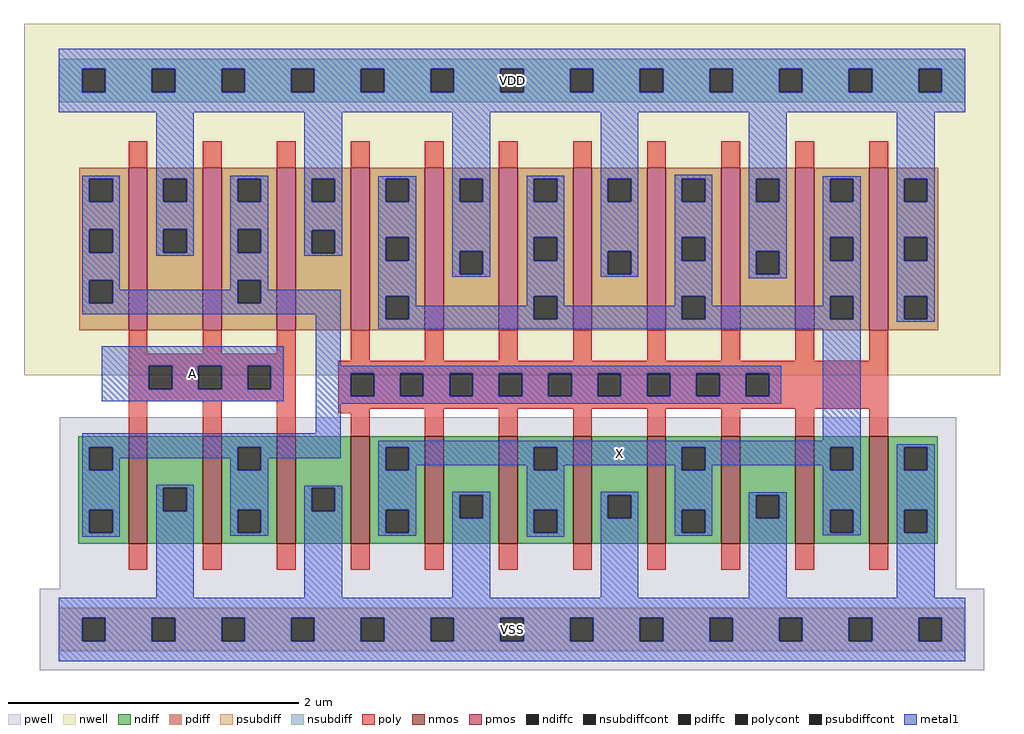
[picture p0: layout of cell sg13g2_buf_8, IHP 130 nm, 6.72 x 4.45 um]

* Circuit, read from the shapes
.subckt sg13g2_buf_8 X VDD A VSS
XM1 VSS A n1 VSS sg13_lv_nmos w=0.74u l=0.13u m=3
XM2 X n1 VSS VSS sg13_lv_nmos w=0.74u l=0.13u m=8
XM3 VDD A n1 VDD sg13_lv_pmos w=1.12u l=0.13u m=3
XM4 X n1 VDD VDD sg13_lv_pmos w=1.12u l=0.13u m=8
.ends

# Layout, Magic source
magic
tech ihp-sg13g2
magscale 1 2
<< nwell >>
rect -48 350 1296 834
<< pwell >>
rect 1 56 1236 292
rect -26 -56 1274 56
<< nmos >>
rect 96 118 122 266
rect 198 118 224 266
rect 300 118 326 266
rect 402 118 428 266
rect 504 118 530 266
rect 606 118 632 266
rect 708 118 734 266
rect 810 118 836 266
rect 912 118 938 266
rect 1014 118 1040 266
rect 1116 118 1142 266
<< pmos >>
rect 96 412 122 636
rect 198 412 224 636
rect 300 412 326 636
rect 402 412 428 636
rect 504 412 530 636
rect 606 412 632 636
rect 708 412 734 636
rect 810 412 836 636
rect 912 412 938 636
rect 1014 412 1040 636
rect 1116 412 1142 636
<< ndiff >>
rect 27 251 96 266
rect 27 219 42 251
rect 74 219 96 251
rect 27 165 96 219
rect 27 133 42 165
rect 74 133 96 165
rect 27 118 96 133
rect 122 195 198 266
rect 122 163 144 195
rect 176 163 198 195
rect 122 118 198 163
rect 224 251 300 266
rect 224 219 246 251
rect 278 219 300 251
rect 224 165 300 219
rect 224 133 246 165
rect 278 133 300 165
rect 224 118 300 133
rect 326 195 402 266
rect 326 163 348 195
rect 380 163 402 195
rect 326 118 402 163
rect 428 251 504 266
rect 428 219 450 251
rect 482 219 504 251
rect 428 165 504 219
rect 428 133 450 165
rect 482 133 504 165
rect 428 118 504 133
rect 530 185 606 266
rect 530 153 552 185
rect 584 153 606 185
rect 530 118 606 153
rect 632 251 708 266
rect 632 219 654 251
rect 686 219 708 251
rect 632 165 708 219
rect 632 133 654 165
rect 686 133 708 165
rect 632 118 708 133
rect 734 185 810 266
rect 734 153 756 185
rect 788 153 810 185
rect 734 118 810 153
rect 836 251 912 266
rect 836 219 858 251
rect 890 219 912 251
rect 836 165 912 219
rect 836 133 858 165
rect 890 133 912 165
rect 836 118 912 133
rect 938 185 1014 266
rect 938 153 960 185
rect 992 153 1014 185
rect 938 118 1014 153
rect 1040 251 1116 266
rect 1040 219 1062 251
rect 1094 219 1116 251
rect 1040 165 1116 219
rect 1040 133 1062 165
rect 1094 133 1116 165
rect 1040 118 1116 133
rect 1142 251 1210 266
rect 1142 219 1164 251
rect 1196 219 1210 251
rect 1142 165 1210 219
rect 1142 133 1164 165
rect 1196 133 1210 165
rect 1142 118 1210 133
<< pdiff >>
rect 28 621 96 636
rect 28 589 42 621
rect 74 589 96 621
rect 28 551 96 589
rect 28 519 42 551
rect 74 519 96 551
rect 28 481 96 519
rect 28 449 42 481
rect 74 449 96 481
rect 28 412 96 449
rect 122 621 198 636
rect 122 589 144 621
rect 176 589 198 621
rect 122 551 198 589
rect 122 519 144 551
rect 176 519 198 551
rect 122 412 198 519
rect 224 621 300 636
rect 224 589 246 621
rect 278 589 300 621
rect 224 551 300 589
rect 224 519 246 551
rect 278 519 300 551
rect 224 481 300 519
rect 224 449 246 481
rect 278 449 300 481
rect 224 412 300 449
rect 326 621 402 636
rect 326 589 348 621
rect 380 589 402 621
rect 326 550 402 589
rect 326 518 348 550
rect 380 518 402 550
rect 326 412 402 518
rect 428 621 504 636
rect 428 589 450 621
rect 482 589 504 621
rect 428 540 504 589
rect 428 508 450 540
rect 482 508 504 540
rect 428 459 504 508
rect 428 427 450 459
rect 482 427 504 459
rect 428 412 504 427
rect 530 621 606 636
rect 530 589 552 621
rect 584 589 606 621
rect 530 521 606 589
rect 530 489 552 521
rect 584 489 606 521
rect 530 412 606 489
rect 632 621 708 636
rect 632 589 654 621
rect 686 589 708 621
rect 632 540 708 589
rect 632 508 654 540
rect 686 508 708 540
rect 632 459 708 508
rect 632 427 654 459
rect 686 427 708 459
rect 632 412 708 427
rect 734 621 810 636
rect 734 589 756 621
rect 788 589 810 621
rect 734 521 810 589
rect 734 489 756 521
rect 788 489 810 521
rect 734 412 810 489
rect 836 621 912 636
rect 836 589 858 621
rect 890 589 912 621
rect 836 540 912 589
rect 836 508 858 540
rect 890 508 912 540
rect 836 459 912 508
rect 836 427 858 459
rect 890 427 912 459
rect 836 412 912 427
rect 938 621 1014 636
rect 938 589 960 621
rect 992 589 1014 621
rect 938 521 1014 589
rect 938 489 960 521
rect 992 489 1014 521
rect 938 412 1014 489
rect 1040 621 1116 636
rect 1040 589 1062 621
rect 1094 589 1116 621
rect 1040 540 1116 589
rect 1040 508 1062 540
rect 1094 508 1116 540
rect 1040 459 1116 508
rect 1040 427 1062 459
rect 1094 427 1116 459
rect 1040 412 1116 427
rect 1142 621 1211 636
rect 1142 589 1164 621
rect 1196 589 1211 621
rect 1142 540 1211 589
rect 1142 508 1164 540
rect 1196 508 1211 540
rect 1142 459 1211 508
rect 1142 427 1164 459
rect 1196 427 1211 459
rect 1142 412 1211 427
<< ndiffc >>
rect 42 219 74 251
rect 42 133 74 165
rect 144 163 176 195
rect 246 219 278 251
rect 246 133 278 165
rect 348 163 380 195
rect 450 219 482 251
rect 450 133 482 165
rect 552 153 584 185
rect 654 219 686 251
rect 654 133 686 165
rect 756 153 788 185
rect 858 219 890 251
rect 858 133 890 165
rect 960 153 992 185
rect 1062 219 1094 251
rect 1062 133 1094 165
rect 1164 219 1196 251
rect 1164 133 1196 165
<< pdiffc >>
rect 42 589 74 621
rect 42 519 74 551
rect 42 449 74 481
rect 144 589 176 621
rect 144 519 176 551
rect 246 589 278 621
rect 246 519 278 551
rect 246 449 278 481
rect 348 589 380 621
rect 348 518 380 550
rect 450 589 482 621
rect 450 508 482 540
rect 450 427 482 459
rect 552 589 584 621
rect 552 489 584 521
rect 654 589 686 621
rect 654 508 686 540
rect 654 427 686 459
rect 756 589 788 621
rect 756 489 788 521
rect 858 589 890 621
rect 858 508 890 540
rect 858 427 890 459
rect 960 589 992 621
rect 960 489 992 521
rect 1062 589 1094 621
rect 1062 508 1094 540
rect 1062 427 1094 459
rect 1164 589 1196 621
rect 1164 508 1196 540
rect 1164 427 1196 459
<< psubdiff >>
rect 0 16 1248 30
rect 0 -16 32 16
rect 64 -16 128 16
rect 160 -16 224 16
rect 256 -16 320 16
rect 352 -16 416 16
rect 448 -16 512 16
rect 544 -16 608 16
rect 640 -16 704 16
rect 736 -16 800 16
rect 832 -16 896 16
rect 928 -16 992 16
rect 1024 -16 1088 16
rect 1120 -16 1184 16
rect 1216 -16 1248 16
rect 0 -30 1248 -16
<< nsubdiff >>
rect 0 772 1248 786
rect 0 740 32 772
rect 64 740 128 772
rect 160 740 224 772
rect 256 740 320 772
rect 352 740 416 772
rect 448 740 512 772
rect 544 740 608 772
rect 640 740 704 772
rect 736 740 800 772
rect 832 740 896 772
rect 928 740 992 772
rect 1024 740 1088 772
rect 1120 740 1184 772
rect 1216 740 1248 772
rect 0 726 1248 740
<< psubdiffcont >>
rect 32 -16 64 16
rect 128 -16 160 16
rect 224 -16 256 16
rect 320 -16 352 16
rect 416 -16 448 16
rect 512 -16 544 16
rect 608 -16 640 16
rect 704 -16 736 16
rect 800 -16 832 16
rect 896 -16 928 16
rect 992 -16 1024 16
rect 1088 -16 1120 16
rect 1184 -16 1216 16
<< nsubdiffcont >>
rect 32 740 64 772
rect 128 740 160 772
rect 224 740 256 772
rect 320 740 352 772
rect 416 740 448 772
rect 512 740 544 772
rect 608 740 640 772
rect 704 740 736 772
rect 800 740 832 772
rect 896 740 928 772
rect 992 740 1024 772
rect 1088 740 1120 772
rect 1184 740 1216 772
<< poly >>
rect 96 636 122 672
rect 198 636 224 672
rect 300 636 326 672
rect 402 636 428 672
rect 504 636 530 672
rect 606 636 632 672
rect 708 636 734 672
rect 810 636 836 672
rect 912 636 938 672
rect 1014 636 1040 672
rect 1116 636 1142 672
rect 96 380 122 412
rect 198 380 224 412
rect 300 380 326 412
rect 96 363 326 380
rect 402 370 428 412
rect 504 370 530 412
rect 606 370 632 412
rect 708 370 734 412
rect 810 370 836 412
rect 912 370 938 412
rect 1014 370 1040 412
rect 1116 370 1142 412
rect 96 331 124 363
rect 156 331 192 363
rect 224 331 260 363
rect 292 331 326 363
rect 96 314 326 331
rect 96 266 122 314
rect 198 266 224 314
rect 300 266 326 314
rect 385 353 1142 370
rect 385 321 402 353
rect 434 321 470 353
rect 502 321 538 353
rect 570 321 606 353
rect 638 321 674 353
rect 706 321 742 353
rect 774 321 810 353
rect 842 321 878 353
rect 910 321 946 353
rect 978 321 1142 353
rect 385 304 1142 321
rect 385 298 428 304
rect 402 266 428 298
rect 504 266 530 304
rect 606 266 632 304
rect 708 266 734 304
rect 810 266 836 304
rect 912 266 938 304
rect 1014 266 1040 304
rect 1116 266 1142 304
rect 96 82 122 118
rect 198 82 224 118
rect 300 82 326 118
rect 402 82 428 118
rect 504 82 530 118
rect 606 82 632 118
rect 708 82 734 118
rect 810 82 836 118
rect 912 82 938 118
rect 1014 82 1040 118
rect 1116 82 1142 118
<< polycont >>
rect 124 331 156 363
rect 192 331 224 363
rect 260 331 292 363
rect 402 321 434 353
rect 470 321 502 353
rect 538 321 570 353
rect 606 321 638 353
rect 674 321 706 353
rect 742 321 774 353
rect 810 321 842 353
rect 878 321 910 353
rect 946 321 978 353
<< metal1 >>
rect 0 772 1248 800
rect 0 740 32 772
rect 64 740 128 772
rect 160 740 224 772
rect 256 740 320 772
rect 352 740 416 772
rect 448 740 512 772
rect 544 740 608 772
rect 640 740 704 772
rect 736 740 800 772
rect 832 740 896 772
rect 928 740 992 772
rect 1024 740 1088 772
rect 1120 740 1184 772
rect 1216 740 1248 772
rect 0 712 1248 740
rect 32 621 84 625
rect 32 589 42 621
rect 74 589 84 621
rect 32 551 84 589
rect 32 519 42 551
rect 74 519 84 551
rect 32 481 84 519
rect 134 621 186 712
rect 134 589 144 621
rect 176 589 186 621
rect 134 551 186 589
rect 134 519 144 551
rect 176 519 186 551
rect 134 515 186 519
rect 236 621 288 625
rect 236 589 246 621
rect 278 589 288 621
rect 236 551 288 589
rect 236 519 246 551
rect 278 519 288 551
rect 32 449 42 481
rect 74 468 84 481
rect 236 481 288 519
rect 338 621 390 712
rect 338 589 348 621
rect 380 589 390 621
rect 338 550 390 589
rect 338 518 348 550
rect 380 518 390 550
rect 338 515 390 518
rect 440 621 492 624
rect 440 589 450 621
rect 482 589 492 621
rect 440 540 492 589
rect 236 468 246 481
rect 74 449 246 468
rect 278 468 288 481
rect 440 508 450 540
rect 482 508 492 540
rect 278 449 388 468
rect 32 434 388 449
rect 59 363 310 390
rect 59 331 124 363
rect 156 331 192 363
rect 224 331 260 363
rect 292 331 310 363
rect 59 314 310 331
rect 354 363 388 434
rect 440 459 492 508
rect 542 621 594 712
rect 542 589 552 621
rect 584 589 594 621
rect 542 521 594 589
rect 542 489 552 521
rect 584 489 594 521
rect 542 486 594 489
rect 644 621 696 625
rect 644 589 654 621
rect 686 589 696 621
rect 644 540 696 589
rect 644 508 654 540
rect 686 508 696 540
rect 440 427 450 459
rect 482 446 492 459
rect 644 459 696 508
rect 746 621 798 712
rect 746 589 756 621
rect 788 589 798 621
rect 746 521 798 589
rect 746 489 756 521
rect 788 489 798 521
rect 746 486 798 489
rect 848 621 900 626
rect 848 589 858 621
rect 890 589 900 621
rect 848 540 900 589
rect 848 508 858 540
rect 890 508 900 540
rect 644 446 654 459
rect 482 427 654 446
rect 686 446 696 459
rect 848 459 900 508
rect 950 621 1002 712
rect 950 589 960 621
rect 992 589 1002 621
rect 950 521 1002 589
rect 950 489 960 521
rect 992 489 1002 521
rect 950 484 1002 489
rect 1052 621 1104 624
rect 1052 589 1062 621
rect 1094 589 1104 621
rect 1052 540 1104 589
rect 1052 508 1062 540
rect 1094 508 1104 540
rect 848 446 858 459
rect 686 427 858 446
rect 890 446 900 459
rect 1052 459 1104 508
rect 1052 446 1062 459
rect 890 427 1062 446
rect 1094 427 1104 459
rect 440 414 1104 427
rect 1154 621 1206 712
rect 1154 589 1164 621
rect 1196 589 1206 621
rect 1154 540 1206 589
rect 1154 508 1164 540
rect 1196 508 1206 540
rect 1154 459 1206 508
rect 1154 427 1164 459
rect 1196 427 1206 459
rect 1154 424 1206 427
rect 354 353 995 363
rect 354 321 402 353
rect 434 321 470 353
rect 502 321 538 353
rect 570 321 606 353
rect 638 321 674 353
rect 706 321 742 353
rect 774 321 810 353
rect 842 321 878 353
rect 910 321 946 353
rect 978 321 995 353
rect 354 311 995 321
rect 354 270 388 311
rect 32 251 388 270
rect 1052 260 1104 414
rect 32 219 42 251
rect 74 236 246 251
rect 74 219 84 236
rect 32 165 84 219
rect 236 219 246 236
rect 278 236 388 251
rect 440 251 1104 260
rect 278 219 288 236
rect 32 133 42 165
rect 74 133 84 165
rect 32 128 84 133
rect 134 195 186 199
rect 134 163 144 195
rect 176 163 186 195
rect 134 44 186 163
rect 236 165 288 219
rect 440 219 450 251
rect 482 226 654 251
rect 482 219 492 226
rect 236 133 246 165
rect 278 133 288 165
rect 236 129 288 133
rect 338 195 390 198
rect 338 163 348 195
rect 380 163 390 195
rect 338 44 390 163
rect 440 165 492 219
rect 644 219 654 226
rect 686 226 858 251
rect 686 219 696 226
rect 440 133 450 165
rect 482 133 492 165
rect 440 129 492 133
rect 542 185 594 190
rect 542 153 552 185
rect 584 153 594 185
rect 542 44 594 153
rect 644 165 696 219
rect 848 219 858 226
rect 890 226 1062 251
rect 890 219 900 226
rect 644 133 654 165
rect 686 133 696 165
rect 644 128 696 133
rect 746 185 798 190
rect 746 153 756 185
rect 788 153 798 185
rect 746 44 798 153
rect 848 165 900 219
rect 1052 219 1062 226
rect 1094 219 1104 251
rect 848 133 858 165
rect 890 133 900 165
rect 848 129 900 133
rect 950 185 1002 189
rect 950 153 960 185
rect 992 153 1002 185
rect 950 44 1002 153
rect 1052 165 1104 219
rect 1052 133 1062 165
rect 1094 133 1104 165
rect 1052 130 1104 133
rect 1154 251 1206 255
rect 1154 219 1164 251
rect 1196 219 1206 251
rect 1154 165 1206 219
rect 1154 133 1164 165
rect 1196 133 1206 165
rect 1154 44 1206 133
rect 0 16 1248 44
rect 0 -16 32 16
rect 64 -16 128 16
rect 160 -16 224 16
rect 256 -16 320 16
rect 352 -16 416 16
rect 448 -16 512 16
rect 544 -16 608 16
rect 640 -16 704 16
rect 736 -16 800 16
rect 832 -16 896 16
rect 928 -16 992 16
rect 1024 -16 1088 16
rect 1120 -16 1184 16
rect 1216 -16 1248 16
rect 0 -44 1248 -16
<< labels >>
flabel metal1 s 440 226 1104 260 0 FreeSans 400 0 0 0 X
port 2 nsew
flabel metal1 s 0 712 1248 800 0 FreeSans 400 0 0 0 VDD
port 3 nsew
flabel metal1 s 59 314 310 390 0 FreeSans 400 0 0 0 A
port 4 nsew
flabel metal1 s 0 -44 1248 44 0 FreeSans 400 0 0 0 VSS
port 5 nsew
<< properties >>
string FIXED_BBOX 0 0 1248 756
string GDS_END 14910
string GDS_FILE ../gds/rgb_buffers.gds
string GDS_START 4742
<< end >>
